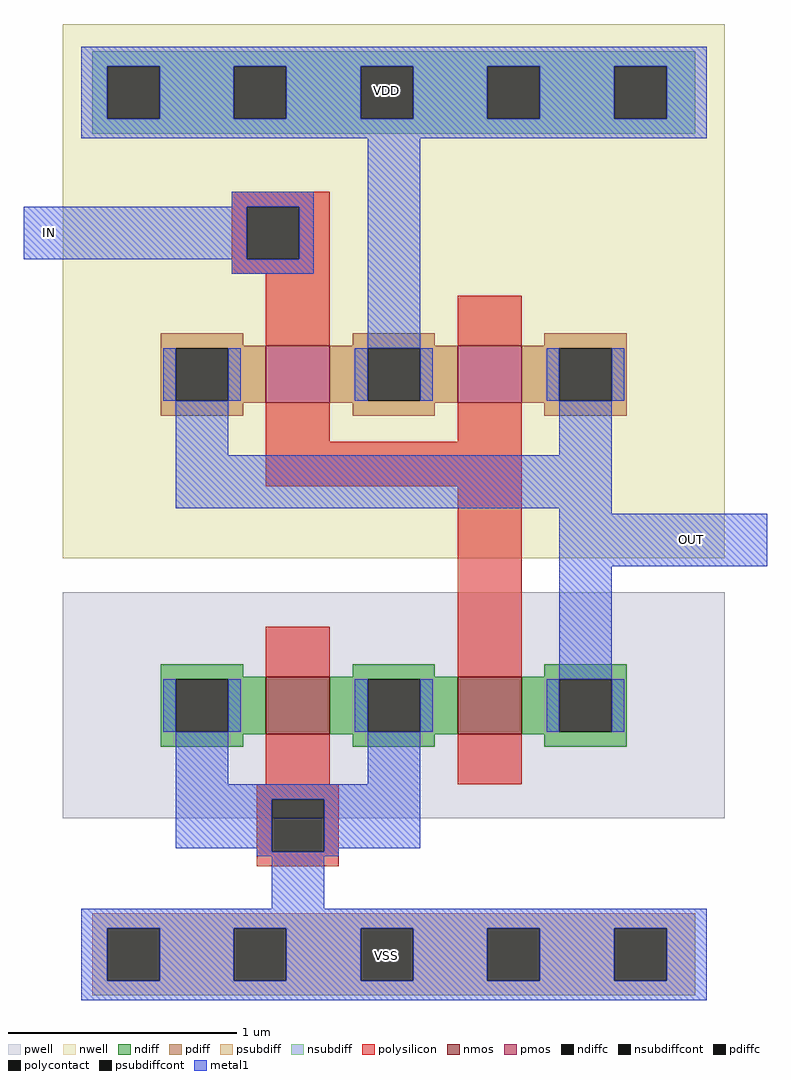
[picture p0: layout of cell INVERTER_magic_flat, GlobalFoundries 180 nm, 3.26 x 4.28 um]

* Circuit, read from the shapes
.subckt INVERTER_magic_flat IN OUT VDD VSS
XM1 VSS VSS VSS VSS nfet_03v3 w=0.25u l=0.28u
XM2 OUT IN VSS VSS nfet_03v3 w=0.25u l=0.28u
XM3 VDD IN OUT VDD pfet_03v3 w=0.25u l=0.28u m=2
.ends

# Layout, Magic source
magic
tech gf180mcuC
magscale 1 10
<< nwell >>
rect 0 0 580 468
<< pwell >>
rect 0 -228 580 -30
<< nmos >>
rect 178 -154 234 -104
rect 346 -154 402 -104
<< pmos >>
rect 178 136 234 186
rect 346 136 402 186
<< ndiff >>
rect 86 -104 158 -93
rect 254 -104 326 -93
rect 422 -104 494 -93
rect 86 -106 178 -104
rect 86 -152 99 -106
rect 145 -152 178 -106
rect 86 -154 178 -152
rect 234 -106 346 -104
rect 234 -152 267 -106
rect 313 -152 346 -106
rect 234 -154 346 -152
rect 402 -106 494 -104
rect 402 -152 435 -106
rect 481 -152 494 -106
rect 402 -154 494 -152
rect 86 -165 158 -154
rect 254 -165 326 -154
rect 422 -165 494 -154
<< pdiff >>
rect 86 186 158 197
rect 254 186 326 197
rect 422 186 494 197
rect 86 184 178 186
rect 86 138 99 184
rect 145 138 178 184
rect 86 136 178 138
rect 234 184 346 186
rect 234 138 267 184
rect 313 138 346 184
rect 234 136 346 138
rect 402 184 494 186
rect 402 138 435 184
rect 481 138 494 184
rect 402 136 494 138
rect 86 125 158 136
rect 254 125 326 136
rect 422 125 494 136
<< ndiffc >>
rect 99 -152 145 -106
rect 267 -152 313 -106
rect 435 -152 481 -106
<< pdiffc >>
rect 99 138 145 184
rect 267 138 313 184
rect 435 138 481 184
<< psubdiff >>
rect 26 -324 554 -311
rect 26 -370 39 -324
rect 85 -370 150 -324
rect 196 -370 261 -324
rect 307 -370 372 -324
rect 418 -370 483 -324
rect 529 -370 554 -324
rect 26 -383 554 -370
<< nsubdiff >>
rect 26 431 554 444
rect 26 385 39 431
rect 85 385 150 431
rect 196 385 261 431
rect 307 385 372 431
rect 418 385 483 431
rect 529 385 554 431
rect 26 372 554 385
<< psubdiffcont >>
rect 39 -370 85 -324
rect 150 -370 196 -324
rect 261 -370 307 -324
rect 372 -370 418 -324
rect 483 -370 529 -324
<< nsubdiffcont >>
rect 39 385 85 431
rect 150 385 196 431
rect 261 385 307 431
rect 372 385 418 431
rect 483 385 529 431
<< polysilicon >>
rect 148 308 234 321
rect 148 262 161 308
rect 207 262 234 308
rect 148 249 234 262
rect 178 186 234 249
rect 346 186 402 230
rect 178 102 234 136
rect 346 102 402 136
rect 178 63 402 102
rect 178 -104 234 -60
rect 346 -104 402 63
rect 178 -198 234 -154
rect 346 -198 402 -154
rect 170 -211 242 -198
rect 170 -257 183 -211
rect 229 -257 242 -211
rect 170 -270 242 -257
<< polycontact >>
rect 161 262 207 308
rect 183 -257 229 -211
<< metal1 >>
rect 16 431 564 448
rect 16 385 39 431
rect 85 385 150 431
rect 196 385 261 431
rect 307 385 372 431
rect 418 385 483 431
rect 529 385 564 431
rect 16 368 564 385
rect 148 308 220 321
rect -34 262 161 308
rect 207 262 220 308
rect 148 249 220 262
rect 267 184 313 368
rect 88 138 99 184
rect 145 138 156 184
rect 256 138 267 184
rect 313 138 324 184
rect 424 138 435 184
rect 481 138 492 184
rect 99 90 145 138
rect 435 90 481 138
rect 99 44 481 90
rect 435 39 481 44
rect 435 -7 617 39
rect 435 -106 481 -7
rect 88 -152 99 -106
rect 145 -152 156 -106
rect 256 -152 267 -106
rect 313 -152 324 -106
rect 424 -152 435 -106
rect 481 -152 492 -106
rect 99 -198 145 -152
rect 267 -198 313 -152
rect 99 -211 313 -198
rect 99 -254 183 -211
rect 170 -257 183 -254
rect 229 -254 313 -211
rect 229 -257 242 -254
rect 170 -261 242 -257
rect 183 -307 229 -261
rect 16 -324 564 -307
rect 16 -370 39 -324
rect 85 -370 150 -324
rect 196 -370 261 -324
rect 307 -370 372 -324
rect 418 -370 483 -324
rect 529 -370 564 -324
rect 16 -387 564 -370
<< labels >>
flabel metal1 -12 285 -12 285 0 FreeSans 480 0 0 0 IN
port 0 nsew
flabel metal1 551 16 551 16 0 FreeSans 480 0 0 0 OUT
port 1 nsew
flabel nsubdiffcont 284 410 284 410 0 FreeSans 480 0 0 0 VDD
port 2 nsew
flabel psubdiffcont 284 -348 284 -348 0 FreeSans 480 0 0 0 VSS
port 3 nsew
<< end >>
